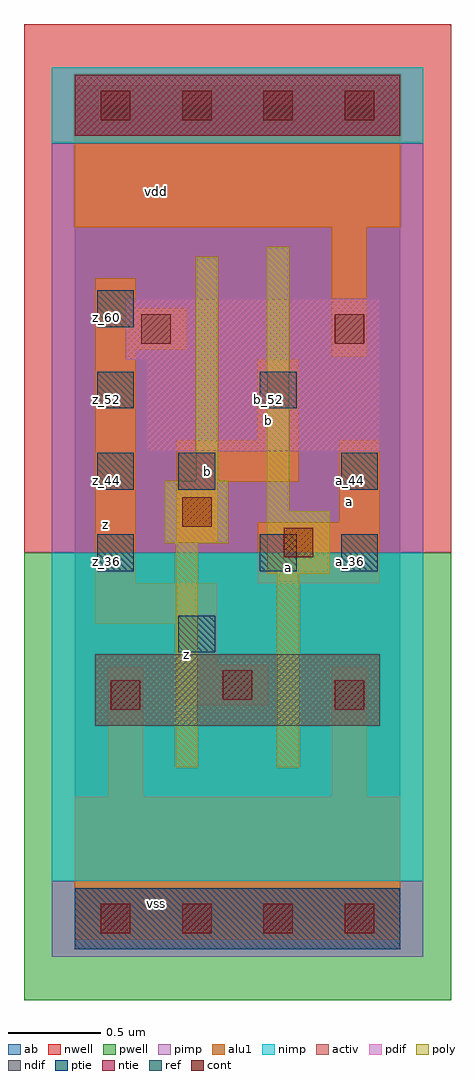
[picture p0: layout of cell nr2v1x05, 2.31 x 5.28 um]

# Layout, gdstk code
import gdstk
lib = gdstk.Library(unit=1e-6, precision=2.5e-09)
def R(c, l, rs):  # rectangles x0, y0, x1, y1
    for r in rs: c.add(gdstk.rectangle(r[:2], r[2:], *l))
def A(c, l, x, y, w, h, nx, ny, dx, dy):  # array of equal rectangles
    R(c, l, [(x+i*dx, y+j*dy, x+i*dx+w, y+j*dy+h) for i in range(nx) for j in range(ny)])
ndif = (3, 0)
pdif = (4, 0)
ntie = (5, 0)
ptie = (6, 0)
ref = (24, 0)
cont = (25, 0)
pwell = (41, 0)
nwell = (42, 0)
activ = (43, 0)
pimp = (44, 0)
nimp = (45, 0)
poly = (46, 0)
alu1 = (49, 0)
ab = (63, 0)

nr2v1x05 = lib.new_cell('nr2v1x05')
R(nr2v1x05, ndif, [(0.11,1.045,1.65,1.43)])
R(nr2v1x05, pdif, [(0.385,2.53,1.65,3.025), (0.275,3.025,1.65,3.355)])
R(nr2v1x05, ntie, [(0,4.235,1.76,4.565)])
R(nr2v1x05, ptie, [(0,-0.165,1.76,0.165)])
A(nr2v1x05, ref, 0.12, 1.88, 0.2, 0.2, 1, 4, 0, 0.44)
R(nr2v1x05, ref, [(0.56,1.44,0.76,1.64), (1,1.88,1.2,2.08), (1.44,1.88,1.64,2.08), (0.56,2.32,0.76,2.52), (1.44,2.32,1.64,2.52), (1,2.76,1.2,2.96)])
A(nr2v1x05, cont, 0.14, -0.08, 0.16, 0.16, 4, 2, 0.44, 4.4)
R(nr2v1x05, cont, [(0.195,1.13,0.355,1.29), (1.405,1.13,1.565,1.29), (0.8,1.185,0.96,1.345), (1.13,1.955,1.29,2.115), (0.58,2.12,0.74,2.28), (0.36,3.11,0.52,3.27), (1.405,3.11,1.565,3.27)])
R(nr2v1x05, pwell, [(-0.275,-0.44,2.035,1.98)])
R(nr2v1x05, nwell, [(-0.275,1.98,2.035,4.84)])
R(nr2v1x05, activ, [(0,-0.165,1.76,0.165), (0.11,1.045,1.65,1.43), (0.385,2.53,1.65,3.025), (0.275,3.025,1.65,3.355), (0,4.235,1.76,4.565)])
R(nr2v1x05, pimp, [(-0.125,-0.205,1.885,0.205), (-0.125,1.98,1.885,4.195)])
R(nr2v1x05, nimp, [(-0.125,0.205,1.885,1.98), (-0.125,4.195,1.885,4.605)])
R(nr2v1x05, poly, [(0.545,0.82,0.665,2.03), (1.095,0.82,1.215,1.865), (1.04,1.865,1.38,2.205), (0.49,2.03,0.83,2.37), (1.04,2.205,1.16,3.635), (0.655,2.37,0.775,3.58)])
R(nr2v1x05, alu1, [(0,-0.11,1.76,0.66), (0.18,0.66,0.37,1.36), (1.39,0.66,1.58,1.36), (0.55,1.155,1.045,1.375), (0.55,1.375,0.77,1.595), (0.11,1.595,0.77,1.815), (0.11,1.815,0.33,3.08), (0.99,1.815,1.65,2.145), (0.55,2.035,0.77,2.365), (1.43,2.145,1.65,2.585), (0.55,2.365,1.21,2.585), (0.99,2.585,1.21,3.025), (1.39,3.04,1.58,3.74), (0.11,3.08,0.605,3.3), (0.11,3.3,0.33,3.465), (0,3.74,1.76,4.51)])
R(nr2v1x05, ab, [(0,0,1.76,4.4)])
nr2v1x05.add(gdstk.Label('vss', (0.44,0.0825), layer=49, texttype=0))
nr2v1x05.add(gdstk.Label('z', (0.605,1.43), layer=49, texttype=0))
nr2v1x05.add(gdstk.Label('a', (1.155,1.8975), layer=49, texttype=0))
nr2v1x05.add(gdstk.Label('a', (1.485,2.255), layer=49, texttype=0))
nr2v1x05.add(gdstk.Label('b', (0.715,2.42), layer=49, texttype=0))
nr2v1x05.add(gdstk.Label('b', (1.045,2.695), layer=49, texttype=0))
nr2v1x05.add(gdstk.Label('z', (0.165,2.13), layer=49, texttype=0))
nr2v1x05.add(gdstk.Label('vdd', (0.44,3.9325), layer=49, texttype=0))
nr2v1x05.add(gdstk.Label('z_28', (0.61,1.49), layer=24, texttype=0))
nr2v1x05.add(gdstk.Label('b_44', (0.61,2.37), layer=24, texttype=0))
nr2v1x05.add(gdstk.Label('a_36', (1.05,1.93), layer=24, texttype=0))
nr2v1x05.add(gdstk.Label('b_52', (1.05,2.81), layer=24, texttype=0))
nr2v1x05.add(gdstk.Label('a_36', (1.49,1.93), layer=24, texttype=0))
nr2v1x05.add(gdstk.Label('a_44', (1.49,2.37), layer=24, texttype=0))
nr2v1x05.add(gdstk.Label('z_36', (0.17,1.93), layer=24, texttype=0))
nr2v1x05.add(gdstk.Label('z_44', (0.17,2.37), layer=24, texttype=0))
nr2v1x05.add(gdstk.Label('z_52', (0.17,2.81), layer=24, texttype=0))
nr2v1x05.add(gdstk.Label('z_60', (0.17,3.25), layer=24, texttype=0))

lib.write_gds('nr2v1x05.gds')
